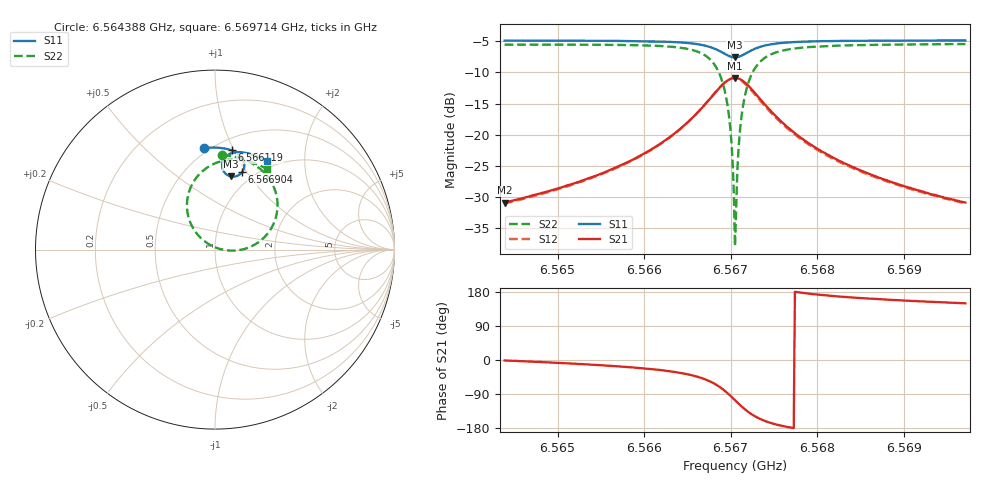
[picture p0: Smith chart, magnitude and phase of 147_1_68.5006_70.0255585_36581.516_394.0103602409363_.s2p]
#  HZ  S  RI  R  50.00
! Rohde & Schwarz Vector Network Analyzer
! Rohde-Schwarz,ZNB20-2Port,1311601062101988,3.16
! Created: UTC 3/20/2024, 4:55:07 PM
! freq[Hz]  re:S11  im:S11  re:S21  im:S21  re:S12  im:S12  re:S22  im:S22
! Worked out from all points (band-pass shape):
!   401 points, 6.564388 GHz to 6.569714 GHz, reference 50 ohm
!   highest |S21| = -10.87 dB at 6.567051 GHz (marker M1); lowest = -30.9 dB at 6.564388 GHz (marker M2)
!   |S21| within 3 dB of the highest: 6.566783 GHz to 6.567316 GHz (533.5 kHz wide, 0.00812 % of centre)
!   lowest |S11| = -7.6 dB at 6.567051 GHz (marker M3), VSWR 2.43, Z = 41.3 + j40.8 ohm
!   |S11| at or under -10 dB: nowhere
!   |S22| runs from -37.9 to -5.4 dB; largest |S21 - S12| = 0.014
!   S11 on the Smith chart (normalised r, x): 6.564388 GHz: 0.47, +0.78; 6.566119 GHz: 0.61, +0.98; 6.566904 GHz: 0.87, +0.95; 6.569714 GHz: 0.90, +1.32
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6.5643877e9  -0.0599 0.5661  0.0285 -0.000523  0.0281 -0.00107  0.0414 0.5265
6.5652798e9  0.0134 0.5678  0.0421 -0.00795  0.0412 -0.00862  0.127 0.5123
6.5661187e9  0.0925 0.5534  0.0717 -0.033  0.0707 -0.0338  0.239 0.4595
6.5661719e9  0.0982 0.5512  0.075 -0.0367  0.0738 -0.0375  0.2485 0.4524
6.5666779e9  0.1574 0.4997  0.1103 -0.1254  0.1076 -0.128  0.3464 0.2789
6.5668111e9  0.1633 0.4636  0.0994 -0.1889  0.0943 -0.1925  0.3321 0.158
6.5669043e9  0.1508 0.4314  0.0601 -0.244  0.0514 -0.2469  0.2605 0.0553
6.5669442e9  0.1383 0.4189  0.0301 -0.2644  0.0197 -0.266  0.2052 0.0191
6.5669842e9  0.1214 0.4097  -0.00737 -0.2778  -0.0195 -0.2769  0.136 -0.00264
6.5670108e9  0.1082 0.4067  -0.0358 -0.2811  -0.0481 -0.278  0.085 -0.00566
6.5670241e9  0.1013 0.4065  -0.0502 -0.2805  -0.0628 -0.2765  0.0591 -0.00324
6.5670374e9  0.0943 0.4067  -0.0647 -0.2784  -0.0771 -0.2734  0.0334 0.00202
6.5670507e9  0.0875 0.4079  -0.0791 -0.2751  -0.0911 -0.2688  0.0083 0.00972
6.5670774e9  0.0745 0.4126  -0.1065 -0.2641  -0.1174 -0.2558  -0.0381 0.0326
6.567104e9  0.0628 0.4198  -0.1305 -0.2484  -0.1399 -0.2384  -0.0782 0.0637
6.5671306e9  0.0535 0.4291  -0.1504 -0.229  -0.158 -0.218  -0.1099 0.1004
6.5671839e9  0.042 0.4509  -0.1761 -0.1855  -0.1799 -0.1738  -0.1476 0.1801
6.5672505e9  0.0398 0.4774  -0.1859 -0.1337  -0.186 -0.1231  -0.1551 0.2717
6.5675035e9  0.0781 0.531  -0.1426 -0.0281  -0.1393 -0.0238  -0.0545 0.4492
6.5679429e9  0.1409 0.5432  -0.0816 0.00863  -0.0797 0.00982  0.0829 0.5007
6.568835e9  0.2247 0.5232  -0.0396 0.0153  -0.0387 0.0155  0.2138 0.4834
6.5697138e9  0.2901 0.4919  -0.0247 0.0145  -0.0241 0.0146  0.2919 0.4476
